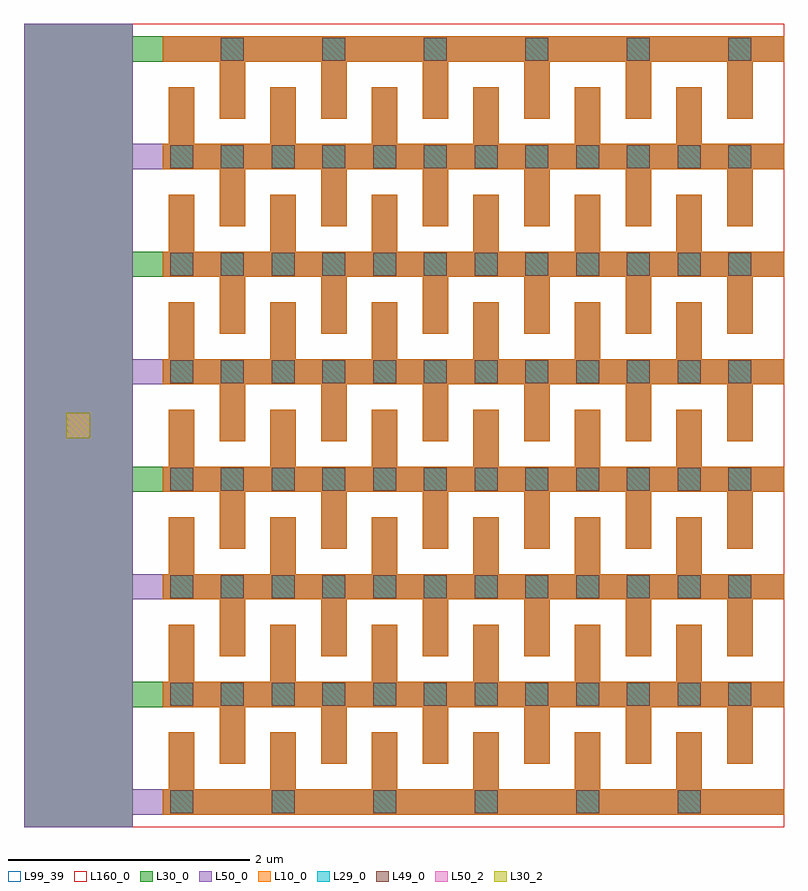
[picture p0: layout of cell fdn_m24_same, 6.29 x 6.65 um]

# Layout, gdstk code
import gdstk
lib = gdstk.Library(unit=1e-6, precision=1e-09)
def R(c, l, rs):  # rectangles x0, y0, x1, y1
    for r in rs: c.add(gdstk.rectangle(r[:2], r[2:], *l))
def A(c, l, x, y, w, h, nx, ny, dx, dy):  # array of equal rectangles
    R(c, l, [(x+i*dx, y+j*dy, x+i*dx+w, y+j*dy+h) for i in range(nx) for j in range(ny)])
L10_0 = (10, 0)
L29_0 = (29, 0)
L30_0 = (30, 0)
L30_2 = (30, 2)
L49_0 = (49, 0)
L50_0 = (50, 0)
L50_2 = (50, 2)
L99_39 = (99, 39)
L160_0 = (160, 0)

fdn_m24_same = lib.new_cell('fdn_m24_same')
A(fdn_m24_same, L10_0, -0.05, -0.105, 5.14, 0.21, 1, 8, 0, 0.89)
A(fdn_m24_same, L10_0, 0, 0, 0.21, 0.575, 6, 7, 0.84, 0.89)
A(fdn_m24_same, L10_0, 0.42, 0.315, 0.21, 0.575, 6, 7, 0.84, 0.89)
A(fdn_m24_same, L29_0, 0.01, -0.095, 0.19, 0.19, 6, 1, 0.84, 0)
A(fdn_m24_same, L29_0, 0.01, 0.795, 0.19, 0.19, 12, 6, 0.42, 0.89)
A(fdn_m24_same, L29_0, 0.43, 6.135, 0.19, 0.19, 6, 1, 0.84, 0)
A(fdn_m24_same, L30_0, -0.05, -0.105, 5.14, 0.21, 1, 4, 0, 1.78)
A(fdn_m24_same, L30_0, 0, 0, 0.21, 0.575, 6, 7, 0.84, 0.89)
A(fdn_m24_same, L30_0, 0.42, 0.315, 0.21, 0.575, 6, 7, 0.84, 0.89)
A(fdn_m24_same, L30_0, -1.2, 0.785, 6.29, 0.21, 1, 4, 0, 1.78)
R(fdn_m24_same, L30_0, [(-1.2,-0.21,-0.3,6.44)])
R(fdn_m24_same, L30_2, [(-0.85,3.01,-0.65,3.22)])
A(fdn_m24_same, L49_0, 0.01, -0.095, 0.19, 0.19, 6, 1, 0.84, 0)
A(fdn_m24_same, L49_0, 0.01, 0.795, 0.19, 0.19, 12, 6, 0.42, 0.89)
A(fdn_m24_same, L49_0, 0.43, 6.135, 0.19, 0.19, 6, 1, 0.84, 0)
A(fdn_m24_same, L50_0, -1.2, -0.105, 6.29, 0.21, 1, 4, 0, 1.78)
A(fdn_m24_same, L50_0, 0, 0, 0.21, 0.575, 6, 7, 0.84, 0.89)
A(fdn_m24_same, L50_0, 0.42, 0.315, 0.21, 0.575, 6, 7, 0.84, 0.89)
A(fdn_m24_same, L50_0, -0.05, 0.785, 5.14, 0.21, 1, 4, 0, 1.78)
R(fdn_m24_same, L50_0, [(-1.2,-0.21,-0.3,6.44)])
R(fdn_m24_same, L50_2, [(-0.85,3.01,-0.65,3.22)])
R(fdn_m24_same, L99_39, [(-1.2,-0.21,5.09,6.44)])
R(fdn_m24_same, L160_0, [(-1.2,-0.21,5.09,6.44)])
fdn_m24_same.add(gdstk.Label('cap_cmomi C=31.548fF', (-1.2,-0.71), layer=63, texttype=0))

lib.write_gds('fdn_m24_same.gds')
